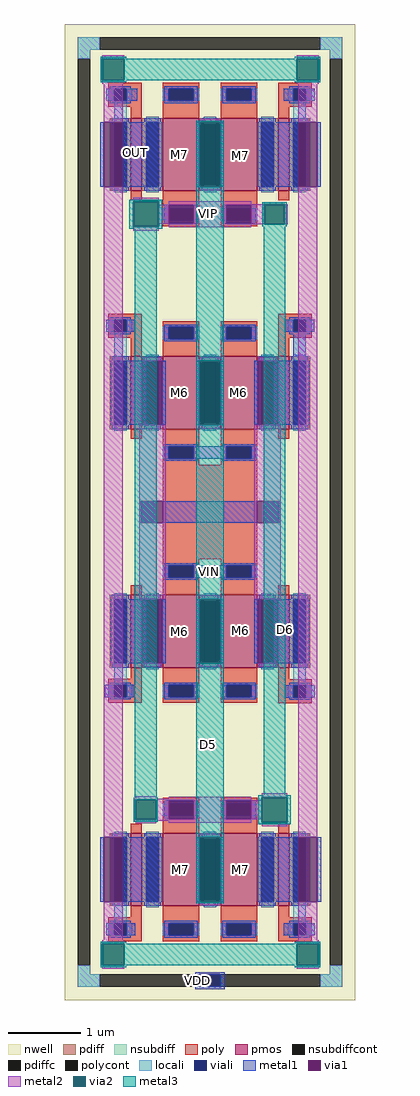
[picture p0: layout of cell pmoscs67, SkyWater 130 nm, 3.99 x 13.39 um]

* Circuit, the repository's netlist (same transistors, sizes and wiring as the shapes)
** sch_path: /home/raphael03/MSIB/opamp/mag/pmoscs67.sch
.subckt pmoscs67 VIP VIN OUT VDD D6 D5
*.PININFO VIP:I VIN:I OUT:O VDD:B D6:B D5:B
XM1 D6 D6 D6 VDD sky130_fd_pr__pfet_01v8 L=0.15 W=1 nf=1 m=4
XM6 D6 VIN D5 VDD sky130_fd_pr__pfet_01v8 L=0.5 W=1 nf=1 m=4
XM7 OUT VIP D5 VDD sky130_fd_pr__pfet_01v8 L=0.5 W=1 nf=1 m=4
XM2 OUT OUT OUT VDD sky130_fd_pr__pfet_01v8 L=0.15 W=1 nf=1 m=4
.ends
.end

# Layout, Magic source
magic
tech sky130A
magscale 1 2
<< nwell >>
rect -282 -1996 516 452
rect -282 -1999 -101 -1996
rect -282 -2061 -96 -1999
rect -282 -2062 -64 -2061
rect 2 -2062 516 -1996
rect -282 -2226 516 -2062
<< nsubdiff >>
rect -246 382 -186 416
rect 420 382 480 416
rect -246 356 -212 382
rect 446 356 480 382
rect -246 -2156 -212 -2130
rect 446 -2156 480 -2130
rect -246 -2190 -186 -2156
rect 420 -2190 480 -2156
<< nsubdiffcont >>
rect -186 382 420 416
rect -246 -2130 -212 356
rect 446 -2130 480 356
rect -186 -2190 420 -2156
<< poly >>
rect -162 275 -70 291
rect -162 241 -146 275
rect -112 241 -70 275
rect -162 225 -70 241
rect -100 220 -70 225
rect 304 275 396 291
rect 304 241 346 275
rect 380 241 396 275
rect 304 225 396 241
rect 304 220 334 225
rect -162 -359 -70 -343
rect -162 -393 -146 -359
rect -112 -393 -70 -359
rect -162 -409 -70 -393
rect -100 -434 -70 -409
rect 304 -359 396 -343
rect 304 -393 346 -359
rect 380 -393 396 -359
rect 304 -409 396 -393
rect 304 -434 334 -409
rect -12 -1017 246 -757
rect -100 -1345 -70 -1340
rect -162 -1361 -70 -1345
rect -162 -1395 -146 -1361
rect -112 -1395 -70 -1361
rect -162 -1411 -70 -1395
rect 304 -1346 334 -1340
rect 304 -1362 396 -1346
rect 304 -1396 346 -1362
rect 380 -1396 396 -1362
rect 304 -1412 396 -1396
rect -100 -1999 -70 -1994
rect -162 -2015 -70 -1999
rect -162 -2049 -146 -2015
rect -112 -2049 -70 -2015
rect -162 -2065 -70 -2049
rect 304 -1999 334 -1994
rect 304 -2015 396 -1999
rect 304 -2049 346 -2015
rect 380 -2049 396 -2015
rect 304 -2065 396 -2049
<< polycont >>
rect -146 241 -112 275
rect 346 241 380 275
rect -146 -393 -112 -359
rect 346 -393 380 -359
rect -146 -1395 -112 -1361
rect 346 -1396 380 -1362
rect -146 -2049 -112 -2015
rect 346 -2049 380 -2015
<< locali >>
rect -246 382 -186 416
rect 420 382 480 416
rect -246 356 -212 382
rect 446 356 480 382
rect -162 241 -146 275
rect -112 241 -96 275
rect 330 241 346 275
rect 380 241 396 275
rect -146 181 -112 241
rect 346 179 380 241
rect -162 -393 -146 -359
rect -112 -393 -96 -359
rect 330 -393 346 -359
rect 380 -393 396 -359
rect -146 -476 -112 -393
rect -146 -1361 -112 -1302
rect -162 -1395 -146 -1361
rect -112 -1395 -96 -1361
rect 346 -1362 380 -1302
rect 330 -1396 346 -1362
rect 380 -1396 396 -1362
rect -146 -2015 -112 -1956
rect 346 -2015 380 -1956
rect -162 -2049 -146 -2015
rect -112 -2049 -96 -2015
rect 330 -2049 346 -2015
rect 380 -2049 396 -2015
rect -246 -2156 -212 -2130
rect 446 -2156 480 -2130
rect -246 -2190 -186 -2156
rect 420 -2190 480 -2156
<< viali >>
rect -146 241 -112 275
rect 346 241 380 275
rect -146 -393 -112 -359
rect 346 -393 380 -359
rect -146 -1395 -112 -1361
rect 346 -1396 380 -1362
rect -146 -2049 -112 -2015
rect 346 -2049 380 -2015
rect 88 -2190 146 -2156
<< metal1 >>
rect -158 275 -100 281
rect 334 275 392 281
rect -168 241 -146 275
rect -112 241 -82 275
rect 320 241 346 275
rect 380 241 405 275
rect -158 235 -100 241
rect 334 235 392 241
rect -184 6 -174 182
rect -122 6 -14 182
rect 79 6 89 182
rect 145 6 155 182
rect 248 6 359 182
rect 411 6 421 182
rect -6 -96 4 -44
rect 72 -96 82 -44
rect 152 -96 162 -44
rect 230 -96 240 -44
rect -158 -359 -100 -353
rect 334 -359 392 -353
rect -168 -393 -146 -359
rect -112 -393 -90 -359
rect 324 -393 346 -359
rect 380 -393 403 -359
rect -158 -399 -100 -393
rect 334 -399 392 -393
rect 345 -472 380 -399
rect -156 -648 -67 -472
rect -15 -648 -5 -472
rect 79 -648 89 -472
rect 145 -648 155 -472
rect 239 -648 249 -472
rect 301 -648 390 -472
rect 80 -741 155 -707
rect -77 -917 -71 -857
rect -11 -917 245 -857
rect 305 -917 311 -857
rect 78 -1067 155 -1033
rect -156 -1302 -67 -1126
rect -15 -1302 -5 -1126
rect 79 -1302 89 -1126
rect 145 -1302 155 -1126
rect 239 -1302 249 -1126
rect 301 -1302 390 -1126
rect -158 -1361 -100 -1355
rect -172 -1395 -146 -1361
rect -112 -1395 -92 -1361
rect 334 -1362 392 -1356
rect -158 -1401 -100 -1395
rect 324 -1396 346 -1362
rect 380 -1396 405 -1362
rect 334 -1402 392 -1396
rect -6 -1730 4 -1678
rect 72 -1730 82 -1678
rect 152 -1730 162 -1678
rect 230 -1730 240 -1678
rect -184 -1956 -174 -1780
rect -122 -1956 -14 -1780
rect 79 -1956 89 -1780
rect 145 -1956 155 -1780
rect 248 -1956 359 -1780
rect 411 -1956 422 -1780
rect -158 -2015 -100 -2009
rect 334 -2015 392 -2009
rect -168 -2049 -146 -2015
rect -112 -2049 -88 -2015
rect 320 -2049 346 -2015
rect 380 -2049 404 -2015
rect -158 -2055 -100 -2049
rect 334 -2055 392 -2049
rect 76 -2156 158 -2150
rect 76 -2190 88 -2156
rect 146 -2190 158 -2156
rect 76 -2196 158 -2190
<< via1 >>
rect -174 6 -122 182
rect 89 6 145 182
rect 359 6 411 182
rect 4 -96 72 -44
rect 162 -96 230 -44
rect -67 -648 -15 -472
rect 89 -648 145 -472
rect 249 -648 301 -472
rect -71 -917 -11 -857
rect 245 -917 305 -857
rect -67 -1302 -15 -1126
rect 89 -1302 145 -1126
rect 249 -1302 301 -1126
rect 4 -1730 72 -1678
rect 162 -1730 230 -1678
rect -174 -1956 -122 -1780
rect 89 -1956 145 -1780
rect 359 -1956 411 -1780
<< metal2 >>
rect -178 357 -118 366
rect -178 288 -118 297
rect 355 357 415 366
rect 355 288 415 297
rect -174 182 -122 288
rect -174 -1780 -122 6
rect 89 182 145 192
rect 89 -4 145 6
rect 359 182 411 288
rect -94 -35 -24 -25
rect 4 -42 230 -34
rect 4 -44 266 -42
rect -24 -96 4 -44
rect 72 -96 162 -44
rect 230 -96 266 -44
rect -94 -115 -24 -105
rect 4 -98 266 -96
rect 322 -98 331 -42
rect 4 -106 230 -98
rect -67 -472 -15 -462
rect 89 -472 145 -462
rect 249 -472 301 -462
rect -77 -857 -5 -648
rect 89 -658 145 -648
rect -77 -917 -71 -857
rect -11 -917 -5 -857
rect -77 -1126 -5 -917
rect 239 -857 311 -648
rect 239 -917 245 -857
rect 305 -917 311 -857
rect 89 -1126 145 -1116
rect 239 -1126 311 -917
rect -67 -1312 -15 -1302
rect 89 -1312 145 -1302
rect 249 -1312 301 -1302
rect -87 -1674 -31 -1667
rect 4 -1674 230 -1668
rect -89 -1676 230 -1674
rect -89 -1732 -87 -1676
rect -31 -1678 230 -1676
rect 259 -1669 329 -1659
rect -31 -1730 4 -1678
rect 72 -1730 162 -1678
rect 230 -1730 259 -1678
rect -31 -1732 230 -1730
rect -89 -1734 230 -1732
rect -87 -1741 -31 -1734
rect 4 -1740 230 -1734
rect 259 -1749 329 -1739
rect -174 -2062 -122 -1956
rect 89 -1780 145 -1770
rect 89 -1966 145 -1956
rect 359 -1780 411 6
rect 359 -2062 411 -1956
rect -178 -2071 -118 -2062
rect -178 -2140 -118 -2131
rect 355 -2071 415 -2062
rect 355 -2140 415 -2131
<< via2 >>
rect -178 297 -118 357
rect 355 297 415 357
rect 89 6 145 182
rect -94 -105 -24 -35
rect 266 -98 322 -42
rect 89 -648 145 -472
rect 89 -1302 145 -1126
rect -87 -1732 -31 -1676
rect 259 -1739 329 -1669
rect 89 -1956 145 -1780
rect -178 -2131 -118 -2071
rect 355 -2131 415 -2071
<< metal3 >>
rect -183 357 -113 362
rect 350 357 420 362
rect -183 297 -178 357
rect -118 297 355 357
rect 415 297 420 357
rect -183 292 -113 297
rect 350 292 420 297
rect 79 182 155 187
rect 79 6 89 182
rect 145 6 155 182
rect -104 -35 -14 -30
rect -104 -105 -94 -35
rect -24 -105 -14 -35
rect -104 -110 -14 -105
rect -89 -1671 -29 -110
rect 79 -472 155 6
rect 261 -42 327 -37
rect 261 -98 266 -42
rect 322 -98 327 -42
rect 261 -103 327 -98
rect 79 -648 89 -472
rect 145 -648 155 -472
rect 79 -1126 155 -648
rect 79 -1302 89 -1126
rect 145 -1302 155 -1126
rect -92 -1676 -26 -1671
rect -92 -1732 -87 -1676
rect -31 -1732 -26 -1676
rect -92 -1737 -26 -1732
rect 79 -1780 155 -1302
rect 264 -1664 324 -103
rect 249 -1669 339 -1664
rect 249 -1739 259 -1669
rect 329 -1739 339 -1669
rect 249 -1744 339 -1739
rect 79 -1956 89 -1780
rect 145 -1956 155 -1780
rect 79 -1961 155 -1956
rect -183 -2071 -113 -2066
rect 350 -2071 420 -2066
rect -183 -2131 -178 -2071
rect -118 -2131 355 -2071
rect 415 -2131 420 -2071
rect -183 -2136 -113 -2131
rect 350 -2136 420 -2131
use sky130_fd_pr__pfet_01v8_2XUZHN  sky130_fd_pr__pfet_01v8_2XUZHN_0
transform 1 0 -85 0 1 -560
box -109 -162 109 162
use sky130_fd_pr__pfet_01v8_2XUZHN  sky130_fd_pr__pfet_01v8_2XUZHN_1
transform 1 0 -85 0 1 -1868
box -109 -162 109 162
use sky130_fd_pr__pfet_01v8_2XUZHN  sky130_fd_pr__pfet_01v8_2XUZHN_2
transform 1 0 -85 0 1 94
box -109 -162 109 162
use sky130_fd_pr__pfet_01v8_2XUZHN  sky130_fd_pr__pfet_01v8_2XUZHN_3
transform 1 0 319 0 1 94
box -109 -162 109 162
use sky130_fd_pr__pfet_01v8_2XUZHN  sky130_fd_pr__pfet_01v8_2XUZHN_4
transform 1 0 319 0 1 -560
box -109 -162 109 162
use sky130_fd_pr__pfet_01v8_2XUZHN  sky130_fd_pr__pfet_01v8_2XUZHN_5
transform 1 0 319 0 1 -1214
box -109 -162 109 162
use sky130_fd_pr__pfet_01v8_2XUZHN  sky130_fd_pr__pfet_01v8_2XUZHN_6
transform 1 0 -85 0 1 -1214
box -109 -162 109 162
use sky130_fd_pr__pfet_01v8_2XUZHN  sky130_fd_pr__pfet_01v8_2XUZHN_7
transform 1 0 319 0 1 -1868
box -109 -162 109 162
use sky130_fd_pr__pfet_01v8_BHVYY6  sky130_fd_pr__pfet_01v8_BHVYY6_0
transform 1 0 117 0 1 -1868
box -223 -200 223 200
use sky130_fd_pr__pfet_01v8_BHVYY6  sky130_fd_pr__pfet_01v8_BHVYY6_1
transform 1 0 117 0 1 94
box -223 -200 223 200
use sky130_fd_pr__pfet_01v8_BHVYY6  sky130_fd_pr__pfet_01v8_BHVYY6_2
transform 1 0 117 0 1 -560
box -223 -200 223 200
use sky130_fd_pr__pfet_01v8_BHVYY6  sky130_fd_pr__pfet_01v8_BHVYY6_3
transform 1 0 117 0 1 -1214
box -223 -200 223 200
<< labels >>
flabel nwell 36 -1868 36 -1868 0 FreeSans 160 0 0 0 M7
flabel nwell 200 -1867 200 -1867 0 FreeSans 160 0 0 0 M7
flabel nwell 34 -1215 34 -1215 0 FreeSans 160 0 0 0 M6
flabel nwell 201 -1212 201 -1212 0 FreeSans 160 0 0 0 M6
flabel nwell 33 -560 33 -560 0 FreeSans 160 0 0 0 M6
flabel nwell 196 -560 196 -560 0 FreeSans 160 0 0 0 M6
flabel metal1 83 -2172 83 -2172 0 FreeSans 800 0 0 0 VDD
port 1 nsew
flabel metal3 114 -1525 114 -1525 0 FreeSans 800 0 0 0 D5
port 2 nsew
flabel metal1 115 -1051 115 -1051 0 FreeSans 800 0 0 0 VIN
port 3 nsew
flabel metal1 323 -1210 323 -1210 0 FreeSans 800 0 0 0 D6
port 4 nsew
flabel metal2 112 -69 112 -69 0 FreeSans 800 0 0 0 VIP
port 6 nsew
flabel metal1 -87 99 -87 99 0 FreeSans 800 0 0 0 OUT
port 5 nsew
flabel nwell 201 92 201 92 0 FreeSans 160 0 0 0 M7
flabel nwell 34 95 34 95 0 FreeSans 160 0 0 0 M7
<< end >>

# cell sky130_fd_pr__pfet_01v8_2XUZHN: kit device sky130_fd_pr__pfet_01v8, w 1 l 0.15 m 1 nf 1 diffcov 100 polycov 100 guard 0 glc 1 grc 1 gtc 1 gbc 1 tbcov 100 rlcov 100 topc 0 botc 0 poverlap 0 doverlap 1 lmin 0.15 wmin 0.42 compatible {sky130_fd_pr__pfet_01v8 sky130_fd_pr__pfet_01v8_lvt sky130_fd_pr__pfet_01v8_hvt sky130_fd_pr__pfet_g5v0d10v5} full_metal 1 viasrc 100 viadrn 100 viagate 100 viagb 0 viagr 0 viagl 0 viagt 0

# cell sky130_fd_pr__pfet_01v8_BHVYY6: kit device sky130_fd_pr__pfet_01v8, w 1 l 0.5 m 1 nf 2 diffcov 100 polycov 100 guard 0 glc 1 grc 1 gtc 1 gbc 1 tbcov 100 rlcov 100 topc 1 botc 1 poverlap 0 doverlap 1 lmin 0.15 wmin 0.42 compatible {sky130_fd_pr__pfet_01v8 sky130_fd_pr__pfet_01v8_lvt sky130_fd_pr__pfet_01v8_hvt sky130_fd_pr__pfet_g5v0d10v5} full_metal 1 viasrc 100 viadrn 100 viagate 100 viagb 0 viagr 0 viagl 0 viagt 0
